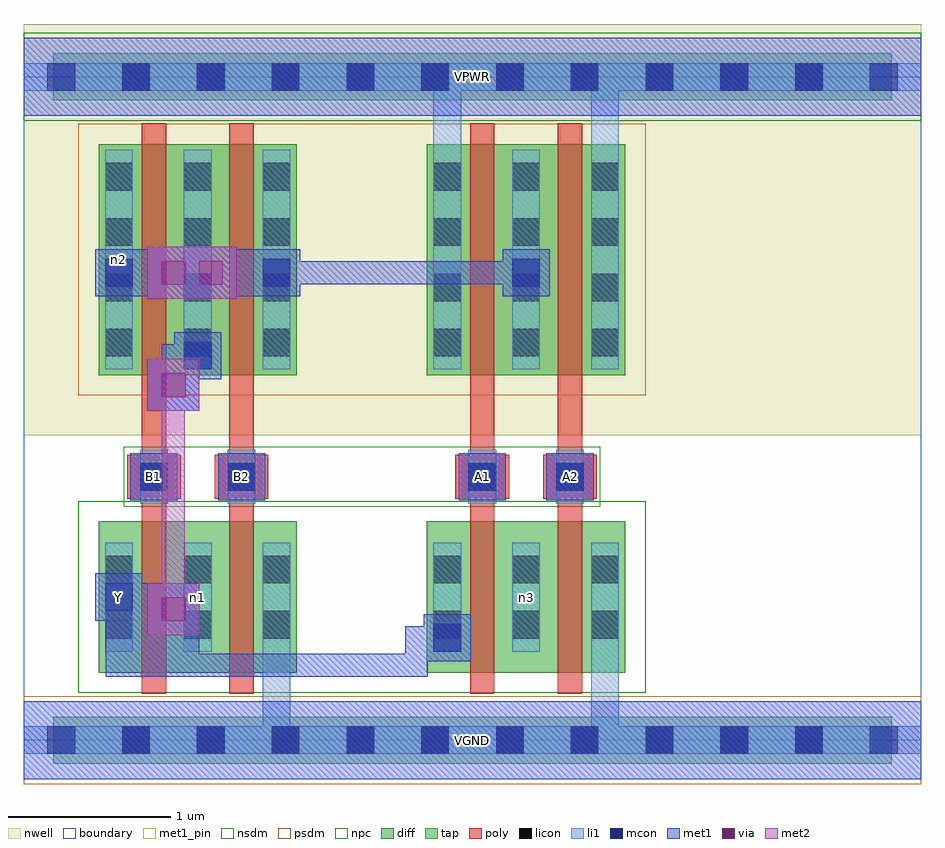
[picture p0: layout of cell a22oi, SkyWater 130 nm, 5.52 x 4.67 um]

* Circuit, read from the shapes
.subckt a22oi A1 A2 B1 B2 VGND VPWR Y n1 n2 n3
XM1 n1 B1 Y VGND sky130_fd_pr__nfet_01v8 w=0.93 l=0.15
XM2 VGND B2 n1 VGND sky130_fd_pr__nfet_01v8 w=0.93 l=0.15
XM3 n3 A1 Y VGND sky130_fd_pr__nfet_01v8 w=0.93 l=0.15
XM4 VGND A2 n3 VGND sky130_fd_pr__nfet_01v8 w=0.93 l=0.15
XM5 Y B1 n2 VPWR sky130_fd_pr__pfet_01v8 w=1.42 l=0.15
XM6 n2 B2 Y VPWR sky130_fd_pr__pfet_01v8 w=1.42 l=0.15
XM7 n2 A1 VPWR VPWR sky130_fd_pr__pfet_01v8 w=1.42 l=0.15
XM8 VPWR A2 n2 VPWR sky130_fd_pr__pfet_01v8 w=1.42 l=0.15
.ends

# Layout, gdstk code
import gdstk
lib = gdstk.Library(unit=1e-6, precision=1e-09)
def R(c, l, rs):  # rectangles x0, y0, x1, y1
    for r in rs: c.add(gdstk.rectangle(r[:2], r[2:], *l))
def A(c, l, x, y, w, h, nx, ny, dx, dy):  # array of equal rectangles
    R(c, l, [(x+i*dx, y+j*dy, x+i*dx+w, y+j*dy+h) for i in range(nx) for j in range(ny)])
nwell = (64, 20)
diff = (65, 20)
tap = (65, 44)
poly = (66, 20)
licon = (66, 44)
li1 = (67, 20)
mcon = (67, 44)
met1_pin = (68, 16)
met1 = (68, 20)
via = (68, 44)
met2 = (69, 20)
nsdm = (93, 44)
psdm = (94, 20)
npc = (95, 20)
boundary = (235, 4)

a22oi = lib.new_cell('a22oi')
R(a22oi, nwell, [(0,1.875,5.52,4.405)])
R(a22oi, diff, [(0.46,0.415,1.68,1.345), (2.48,0.415,3.7,1.345), (0.46,2.245,1.68,3.665), (2.48,2.245,3.7,3.665)])
R(a22oi, tap, [(0.18,-0.145,5.34,0.145), (0.18,3.935,5.34,4.225)])
R(a22oi, poly, [(0.725,0.285,0.875,3.795), (1.265,0.285,1.415,3.795), (2.745,0.285,2.895,3.795), (3.285,0.285,3.435,3.795), (0.635,1.485,0.965,1.755), (1.175,1.485,1.505,1.755), (2.655,1.485,2.985,1.755), (3.195,1.485,3.525,1.755)])
A(a22oi, licon, 0.605, -0.085, 0.17, 0.17, 10, 2, 0.46, 4.08)
A(a22oi, licon, 0.5, 0.625, 0.17, 0.17, 3, 2, 0.485, 0.34)
A(a22oi, licon, 2.52, 0.625, 0.17, 0.17, 3, 2, 0.485, 0.34)
A(a22oi, licon, 0.5, 2.36, 0.17, 0.17, 3, 4, 0.485, 0.34)
A(a22oi, licon, 2.52, 2.36, 0.17, 0.17, 3, 4, 0.485, 0.34)
R(a22oi, licon, [(0.715,1.535,0.885,1.705), (1.255,1.535,1.425,1.705), (2.735,1.535,2.905,1.705), (3.275,1.535,3.445,1.705)])
A(a22oi, li1, 0.5, 0.545, 0.17, 0.67, 3, 1, 0.485, 0)
A(a22oi, li1, 2.52, 0.545, 0.17, 0.67, 3, 1, 0.485, 0)
A(a22oi, li1, 0.5, 2.28, 0.17, 1.35, 3, 1, 0.485, 0)
A(a22oi, li1, 2.52, 2.28, 0.17, 1.35, 3, 1, 0.485, 0)
R(a22oi, li1, [(0,-0.085,5.52,0.085), (1.47,-0.085,1.64,1.215), (3.49,-0.085,3.66,1.215), (0.715,1.455,0.885,1.785), (1.255,1.455,1.425,1.785), (2.735,1.455,2.905,1.785), (3.275,1.455,3.445,1.785), (2.52,2.28,2.69,4.165), (3.49,2.28,3.66,4.165), (0,3.995,5.52,4.165)])
A(a22oi, mcon, 0.145, -0.085, 0.17, 0.17, 12, 2, 0.46, 4.08)
R(a22oi, mcon, [(2.52,0.545,2.69,0.715), (0.5,0.795,0.67,0.965), (0.715,1.535,0.885,1.705), (1.255,1.535,1.425,1.705), (2.735,1.535,2.905,1.705), (3.275,1.535,3.445,1.705), (0.985,2.28,1.155,2.45), (0.5,2.79,0.67,2.96), (1.47,2.79,1.64,2.96), (3.005,2.79,3.175,2.96)])
R(a22oi, met1_pin, [(0,-0.24,5.52,0.24), (0.44,0.735,0.73,1.025), (0.655,1.475,0.945,1.765), (1.195,1.475,1.485,1.765), (2.675,1.475,2.965,1.765), (3.215,1.475,3.505,1.765), (0,3.84,5.52,4.32)])
R(a22oi, met1, [(0,-0.24,5.52,0.24), (0.505,0.39,0.645,0.875), (0.505,0.39,2.485,0.53), (2.345,0.39,2.485,0.7), (2.46,0.485,2.75,0.775), (0.645,0.53,0.76,0.645), (0.76,0.53,1.08,0.645), (2.345,0.56,2.675,0.7), (0.645,0.645,0.76,0.875), (0.76,0.645,1.08,0.965), (0.44,0.735,0.73,1.025), (0.505,0.735,0.645,0.875), (0.505,0.735,0.99,0.875), (0.73,0.735,0.76,0.965), (0.655,1.475,0.945,1.765), (1.195,1.475,1.485,1.765), (2.675,1.475,2.965,1.765), (3.215,1.475,3.505,1.765), (0.76,2.025,1.08,2.345), (0.85,2.115,0.99,2.435), (0.925,2.22,1.215,2.51), (0.85,2.295,1.14,2.435), (0.76,2.715,1.08,3.035), (0.99,2.715,1.31,3.035), (0.44,2.73,0.73,3.02), (0.73,2.73,0.76,3.02), (1.31,2.73,1.41,3.02), (1.41,2.73,1.7,3.02), (2.945,2.73,3.235,3.02), (0.515,2.805,0.76,2.945), (0.62,2.805,0.99,2.945), (1.08,2.805,1.45,2.945), (1.31,2.805,1.625,2.945), (1.31,2.805,3.06,2.945), (2.92,2.805,3.16,2.945), (0,3.84,5.52,4.32)])
R(a22oi, via, [(0.845,0.73,0.995,0.88), (0.845,2.11,0.995,2.26), (0.845,2.8,0.995,2.95), (1.075,2.8,1.225,2.95)])
R(a22oi, met2, [(0.76,0.645,1.08,0.965), (0.85,0.735,0.99,2.255), (0.76,2.025,1.08,2.345), (0.76,2.715,1.08,3.035), (0.99,2.715,1.31,3.035), (0.85,2.805,1.22,2.945)])
R(a22oi, nsdm, [(0.335,0.29,3.825,1.47), (0,3.81,5.52,4.35)])
R(a22oi, psdm, [(0,-0.27,5.52,0.27), (0.335,2.12,3.825,3.79)])
R(a22oi, npc, [(0.615,1.435,3.545,1.805)])
R(a22oi, boundary, [(0,0,5.52,4.08)])
a22oi.add(gdstk.Label('n1', (1.07,0.88), layer=67, texttype=5))
a22oi.add(gdstk.Label('n3', (3.09,0.88), layer=67, texttype=5))
a22oi.add(gdstk.Label('n2', (0.585,2.955), layer=67, texttype=5))
a22oi.add(gdstk.Label('A1', (2.82,1.62), layer=68, texttype=5))
a22oi.add(gdstk.Label('A2', (3.36,1.62), layer=68, texttype=5))
a22oi.add(gdstk.Label('B1', (0.8,1.62), layer=68, texttype=5))
a22oi.add(gdstk.Label('B2', (1.34,1.62), layer=68, texttype=5))
a22oi.add(gdstk.Label('Y', (0.585,0.88), layer=68, texttype=5))
a22oi.add(gdstk.Label('VPWR', (2.76,4.08), layer=68, texttype=5))
a22oi.add(gdstk.Label('VGND', (2.76,0), layer=68, texttype=5))
a22oi.add(gdstk.Label('A1', (2.82,1.62), layer=68, texttype=16))
a22oi.add(gdstk.Label('A2', (3.36,1.62), layer=68, texttype=16))
a22oi.add(gdstk.Label('B1', (0.8,1.62), layer=68, texttype=16))
a22oi.add(gdstk.Label('B2', (1.34,1.62), layer=68, texttype=16))
a22oi.add(gdstk.Label('Y', (0.585,0.88), layer=68, texttype=16))
a22oi.add(gdstk.Label('VPWR', (2.76,4.08), layer=68, texttype=16))
a22oi.add(gdstk.Label('VGND', (2.76,0), layer=68, texttype=16))

lib.write_gds('a22oi.gds')
